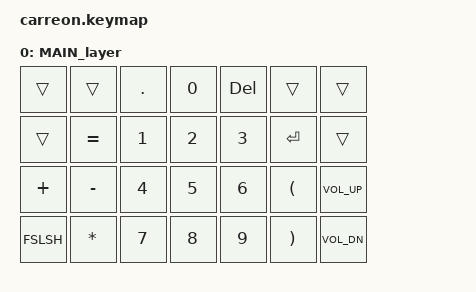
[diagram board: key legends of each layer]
/*
* Copyright (c) 2022 The ZMK Contributors
*
* SPDX-License-Identifier: MIT
*/

#include <behaviors.dtsi>
#include <dt-bindings/zmk/keys.h>
#include <dt-bindings/zmk/bt.h>

#define MAIN 0
#define SYM 1
#define NAV 2
#define BT 3

&mt {
    flavor = "tap-preferred";
    tapping-term-ms = <140>;
};

/ {

    keymap {
        compatible = "zmk,keymap";

        MAIN_layer {
            bindings = <
            &trans     &trans      &kp DOT   &kp N0   &kp DEL   &trans     &trans   
            &trans     &kp EQUAL   &kp N1    &kp N2   &kp N3    &kp ENTER  &trans  
            &kp PLUS   &kp MINUS   &kp N4    &kp N5   &kp N6    &kp LPAR   &kp C_VOL_UP
            &kp FSLSH  &kp STAR    &kp N7   &kp N8    &kp N9    &kp RPAR   &kp C_VOL_DN
            >;
        };
    };
};
